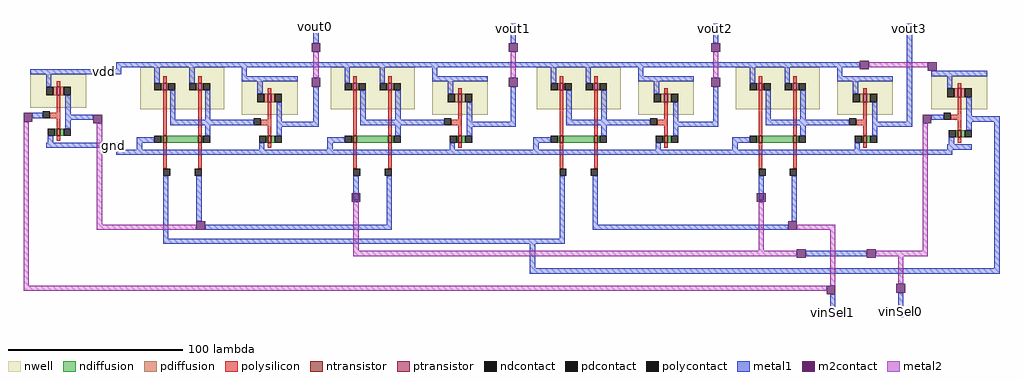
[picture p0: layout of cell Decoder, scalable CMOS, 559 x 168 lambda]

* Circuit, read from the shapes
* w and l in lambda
.subckt Decoder gnd vdd vinSel0 vinSel1 vout0 vout1 vout2 vout3
M1 NOT_0/out vinSel1 gnd VSUBS nfet w=4 l=2
M2 n1 NOT_1/out gnd VSUBS nfet w=4 l=2
M3 AND4Bit_0/AND2IN_0/NOT_0/in NOT_0/out n1 VSUBS nfet w=4 l=2
M4 vout0 AND4Bit_0/AND2IN_0/NOT_0/in gnd VSUBS nfet w=4 l=2
M5 n2 vinSel0 gnd VSUBS nfet w=4 l=2
M6 AND4Bit_0/AND2IN_1/NOT_0/in NOT_0/out n2 VSUBS nfet w=4 l=2
M7 vout1 AND4Bit_0/AND2IN_1/NOT_0/in gnd VSUBS nfet w=4 l=2
M8 n3 NOT_1/out gnd VSUBS nfet w=4 l=2
M9 AND4Bit_0/AND2IN_2/NOT_0/in vinSel1 n3 VSUBS nfet w=4 l=2
M10 vout2 AND4Bit_0/AND2IN_2/NOT_0/in gnd VSUBS nfet w=4 l=2
M11 n4 vinSel0 gnd VSUBS nfet w=4 l=2
M12 AND4Bit_0/AND2IN_3/NOT_0/in vinSel1 n4 VSUBS nfet w=4 l=2
M13 vout3 AND4Bit_0/AND2IN_3/NOT_0/in gnd VSUBS nfet w=4 l=2
M14 NOT_1/out vinSel0 gnd VSUBS nfet w=4 l=2
M15 NOT_0/out vinSel1 vdd n5 pfet w=5 l=2
M16 AND4Bit_0/AND2IN_0/NOT_0/in NOT_1/out vdd n6 pfet w=4 l=2
M17 AND4Bit_0/AND2IN_0/NOT_0/in NOT_0/out vdd n6 pfet w=4 l=2
M18 vout0 AND4Bit_0/AND2IN_0/NOT_0/in vdd n7 pfet w=5 l=2
M19 AND4Bit_0/AND2IN_1/NOT_0/in vinSel0 vdd n8 pfet w=4 l=2
M20 AND4Bit_0/AND2IN_1/NOT_0/in NOT_0/out vdd n8 pfet w=4 l=2
M21 vout1 AND4Bit_0/AND2IN_1/NOT_0/in vdd n9 pfet w=5 l=2
M22 AND4Bit_0/AND2IN_2/NOT_0/in NOT_1/out vdd n10 pfet w=4 l=2
M23 AND4Bit_0/AND2IN_2/NOT_0/in vinSel1 vdd n10 pfet w=4 l=2
M24 vout2 AND4Bit_0/AND2IN_2/NOT_0/in vdd n11 pfet w=5 l=2
M25 AND4Bit_0/AND2IN_3/NOT_0/in vinSel0 vdd n12 pfet w=4 l=2
M26 AND4Bit_0/AND2IN_3/NOT_0/in vinSel1 vdd n12 pfet w=4 l=2
M27 vout3 AND4Bit_0/AND2IN_3/NOT_0/in vdd n13 pfet w=5 l=2
M28 NOT_1/out vinSel0 vdd n14 pfet w=5 l=2
.ends

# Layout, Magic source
magic
tech scmos
<< metal1 >>
rect 113 93 116 101
rect 226 93 229 101
rect 342 93 345 101
rect 453 93 456 101
rect 0 75 3 79
rect 413 76 426 79
rect -19 72 3 75
rect 467 71 470 74
rect -48 47 -44 50
rect -26 46 -13 49
rect 467 46 472 49
rect 492 45 506 48
rect -29 30 3 33
rect 0 26 3 30
rect 476 29 479 32
rect 433 26 479 29
rect 27 -22 30 3
rect 46 -12 49 3
rect 155 -14 158 3
rect 51 -17 158 -14
rect 254 -22 257 1
rect 273 -14 276 3
rect 387 -12 390 3
rect 273 -17 385 -14
rect 27 -25 257 -22
rect 237 -39 240 -25
rect 395 -32 430 -29
rect 503 -39 506 45
rect 237 -42 506 -39
rect 409 -67 412 -54
rect 448 -67 451 -53
<< m2contact >>
rect 426 75 431 80
rect 465 74 470 79
rect -53 45 -48 50
rect -13 44 -8 49
rect 462 44 467 49
rect 135 -1 140 4
rect 46 -17 51 -12
rect 367 -1 372 4
rect 385 -17 390 -12
rect 390 -33 395 -28
rect 430 -33 435 -28
rect 407 -54 412 -49
rect 447 -53 452 -48
<< metal2 >>
rect 431 76 465 79
rect -53 -49 -50 45
rect -11 -14 -8 44
rect -11 -17 46 -14
rect 136 -29 139 -1
rect 368 -29 371 -1
rect 390 -17 412 -14
rect 136 -32 390 -29
rect 409 -49 412 -17
rect 462 -29 465 44
rect 435 -32 465 -29
rect 448 -48 451 -32
rect -53 -52 407 -49
use NOT  NOT_1
transform 1 0 474 0 1 55
box -7 -26 25 19
use NOT  NOT_0
transform 1 0 -42 0 1 56
box -7 -26 25 19
use AND4Bit  AND4Bit_0
transform 1 0 12 0 1 6
box -12 -6 444 89
<< labels >>
rlabel metal1 114 99 115 100 5 vout0
rlabel metal1 -7 73 -6 74 1 vdd
rlabel metal1 -2 31 -1 32 1 gnd
rlabel metal1 227 98 228 99 5 vout1
rlabel metal1 343 98 344 99 5 vout2
rlabel metal1 454 98 455 99 5 vout3
rlabel metal1 410 -65 411 -64 1 vinSel1
rlabel metal1 449 -64 450 -63 1 vinSel0
<< end >>

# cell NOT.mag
magic
tech scmos
<< nwell >>
rect -7 -3 25 16
<< ntransistor >>
rect 8 -19 10 -15
<< ptransistor >>
rect 8 4 10 9
<< ndiffusion >>
rect 7 -19 8 -15
rect 10 -19 12 -15
<< pdiffusion >>
rect 6 4 8 9
rect 10 4 12 9
<< ndcontact >>
rect 3 -19 7 -15
rect 12 -19 16 -15
<< pdcontact >>
rect 2 4 6 9
rect 12 4 16 9
<< polysilicon >>
rect 8 9 10 12
rect 8 -6 10 4
rect 4 -9 10 -6
rect 8 -15 10 -9
rect 8 -22 10 -19
<< polycontact >>
rect 0 -9 4 -5
<< metal1 >>
rect -7 16 25 19
rect 2 9 5 16
rect -3 -9 0 -6
rect 13 -7 16 4
rect 13 -10 20 -7
rect 13 -15 16 -10
rect 3 -23 6 -19
rect 2 -26 16 -23
<< labels >>
rlabel metal1 6 17 9 18 5 vdd
rlabel metal1 -3 -8 -2 -7 3 in
rlabel metal1 18 -9 19 -8 1 out
rlabel metal1 9 -25 10 -24 1 gnd
<< end >>

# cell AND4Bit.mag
magic
tech scmos
<< metal1 >>
rect 101 84 104 89
rect 214 84 217 89
rect 330 84 333 89
rect -12 70 53 73
rect 59 70 114 73
rect 168 70 233 73
rect 287 70 352 73
rect 101 39 104 59
rect 214 39 217 59
rect 330 39 333 59
rect 441 39 444 89
rect 91 36 104 39
rect 204 36 217 39
rect 320 36 333 39
rect 436 36 444 39
rect -12 20 53 23
rect 75 20 140 23
rect 188 20 253 23
rect 301 20 366 23
rect 15 -6 18 2
rect 34 -6 37 2
rect 124 -6 127 2
rect 143 -6 146 2
rect 242 -6 245 2
rect 261 -6 264 2
rect 356 -6 359 2
rect 375 -6 378 2
<< m2contact >>
rect 100 79 105 84
rect 213 79 218 84
rect 329 79 334 84
rect 100 59 105 64
rect 213 59 218 64
rect 329 59 334 64
<< metal2 >>
rect 101 64 104 79
rect 214 64 217 79
rect 330 64 333 79
use AND2IN  AND2IN_0
transform 1 0 2 0 1 15
box -2 -15 94 58
use AND2IN  AND2IN_1
transform 1 0 111 0 1 15
box -2 -15 94 58
use AND2IN  AND2IN_2
transform 1 0 229 0 1 15
box -2 -15 94 58
use AND2IN  AND2IN_3
transform 1 0 343 0 1 15
box -2 -15 94 58
<< labels >>
rlabel metal1 16 -3 17 -2 1 vina0
rlabel metal1 35 -3 36 -2 1 vinb0
rlabel metal1 -10 21 -9 22 3 gnd
rlabel metal1 -10 71 -9 72 3 vdd
rlabel metal1 125 -4 126 -3 1 vina1
rlabel metal1 144 -4 145 -3 1 vinb1
rlabel metal1 243 -3 244 -2 1 vina2
rlabel metal1 262 -3 263 -2 1 vinb2
rlabel metal1 357 -3 358 -2 1 vina3
rlabel metal1 376 -3 377 -2 1 vinb3
rlabel metal1 102 87 103 88 5 vout0
rlabel metal1 215 87 216 88 5 vout1
rlabel metal1 331 86 332 87 5 vout2
rlabel metal1 442 86 443 87 6 vout3
<< end >>

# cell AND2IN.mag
magic
tech scmos
<< metal1 >>
rect 44 55 61 58
rect 58 47 61 55
rect 46 22 63 25
rect 84 21 94 24
rect -2 12 5 15
rect -2 8 1 12
rect -2 5 68 8
rect 13 -15 16 -11
rect 32 -15 35 -11
use NAND2IN  NAND2IN_0
transform 1 0 16 0 1 35
box -16 -46 32 23
use NOT  NOT_0
transform 1 0 65 0 1 31
box -7 -26 25 19
<< labels >>
rlabel metal1 -1 13 0 14 3 gnd
rlabel metal1 59 52 60 53 1 vdd
rlabel metal1 92 22 93 23 7 vout
rlabel metal1 14 -14 15 -13 1 vin1
rlabel metal1 33 -14 34 -13 1 vin2
<< end >>

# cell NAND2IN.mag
magic
tech scmos
<< nwell >>
rect -16 -4 32 20
<< ntransistor >>
rect -3 -23 -1 -19
rect 17 -23 19 -19
<< ptransistor >>
rect -3 7 -1 11
rect 17 7 19 11
<< ndiffusion >>
rect -4 -23 -3 -19
rect -1 -23 17 -19
rect 19 -23 20 -19
<< pdiffusion >>
rect -4 7 -3 11
rect -1 7 0 11
rect 16 7 17 11
rect 19 7 20 11
<< ndcontact >>
rect -8 -23 -4 -19
rect 20 -23 24 -19
<< pdcontact >>
rect -8 7 -4 11
rect 0 7 4 11
rect 12 7 16 11
rect 20 7 24 11
<< polysilicon >>
rect -3 11 -1 15
rect 17 11 19 15
rect -3 -19 -1 7
rect 17 -19 19 7
rect -3 -38 -1 -23
rect 17 -38 19 -23
<< polycontact >>
rect -3 -42 1 -38
rect 15 -42 19 -38
<< metal1 >>
rect -16 20 32 23
rect -8 11 -5 20
rect 12 11 15 20
rect 1 -10 4 7
rect 21 -10 24 7
rect 1 -13 32 -10
rect 21 -19 24 -13
rect -13 -23 -8 -20
rect -3 -46 0 -42
rect 16 -46 19 -42
<< labels >>
rlabel metal1 7 21 8 22 5 vdd
rlabel metal1 28 -12 29 -11 7 vout
rlabel metal1 -12 -22 -11 -21 3 gnd
rlabel metal1 -2 -44 -1 -43 1 vin1
rlabel metal1 17 -44 18 -43 1 vin2
<< end >>
